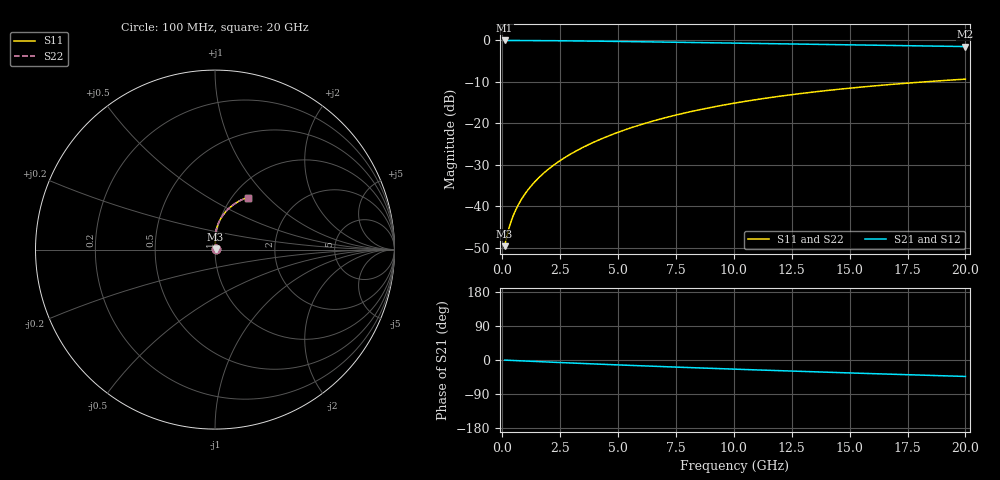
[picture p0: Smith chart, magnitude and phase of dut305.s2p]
! Touchstone file exported from HFSS 2024.1.0
!  File:  C:/UserFiles/LocalFiles/RDL_TSV_Batchsim/temp_RDL_bottom_305_1779610400.aedt
!  Generated:  04:15:55 PM May 24, 2026
!  Design:  RDL_bottom
!  Project:  temp_RDL_bottom_305_1779610400
!  Setup:  Setup1
!  Solution:  Sweep
! Variables:
!  dtsv = 10.80580581um
!  hbump = 3um
!  htsv = 66.39um
!  ldown = 634.56um
!  lrdl = 100um
!  p = 40
!  p1 = 53.73um
!  rhole = 1um
!  t = 450um
!  tdown = 3um
!  trdl = 3.915915916um
!  wdown = 28.7um
!  wrdl = 20um
# GHz S MA R 50.000000
! Terminal data exported
! Port[1] = RDL1_T1
! Port[2] = RDL1_T2
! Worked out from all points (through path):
!   200 points, 100 MHz to 20 GHz, reference 50 ohm
!   highest |S21| = -0.03 dB at 100 MHz (marker M1); lowest = -1.5 dB at 20 GHz (marker M2)
!   group delay of S21, straight-line fit = 5.95 ps
!   lowest |S11| = -49.6 dB at 100 MHz (marker M3), VSWR 1.01, Z = 50.3 + j0.165 ohm
!   |S11| at or under -10 dB: start of sweep to 18.21 GHz
!   |S22| runs from -49.6 to -9.3 dB; largest |S21 - S12| = 4e-15
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0.1  0.003329 29.4  0.9971 -0.3  0.9971 -0.3  0.003329 29.4
! Gamma 0 0 0 0
! Port Impedance 50 0 50 0
0.2  0.004415 46.0  0.9969 -0.6  0.9969 -0.6  0.004415 46.0
0.3  0.005638 54.9  0.9966 -0.9  0.9966 -0.9  0.005638 54.9
0.4  0.00687 60.6  0.9964 -1.1  0.9964 -1.1  0.00687 60.6
0.5  0.008099 64.7  0.9961 -1.4  0.9961 -1.4  0.0081 64.7
0.6  0.009334 67.9  0.9959 -1.7  0.9959 -1.7  0.009335 67.9
0.8  0.01185 72.7  0.9954 -2.2  0.9954 -2.2  0.01185 72.7
1  0.01443 76.1  0.9949 -2.7  0.9949 -2.7  0.01443 76.1
1.2  0.01707 78.7  0.9943 -3.3  0.9943 -3.3  0.01707 78.7
1.7  0.02396 83.0  0.9925 -4.6  0.9925 -4.6  0.02396 83.0
2.2  0.03121 85.5  0.9902 -5.9  0.9902 -5.9  0.03122 85.6
2.8  0.0404 87.4  0.9869 -7.5  0.9869 -7.5  0.04041 87.4
3.5  0.05177 88.5  0.9823 -9.3  0.9823 -9.3  0.05178 88.5
4.2  0.06379 88.8  0.9771 -11.0  0.9771 -11.0  0.06381 88.8
5  0.07822 88.5  0.9706 -13.0  0.9706 -13.0  0.07824 88.5
6.8  0.1125 86.2  0.955 -17.2  0.955 -17.2  0.1125 86.2
8.4  0.1438 83.1  0.9406 -20.7  0.9406 -20.7  0.1439 83.1
10.1  0.1769 79.4  0.9255 -24.3  0.9255 -24.3  0.177 79.4
11.7  0.2072 75.7  0.9114 -27.6  0.9114 -27.6  0.2073 75.7
13.4  0.2381 71.9  0.8967 -31.0  0.8967 -31.0  0.2382 71.9
16.7  0.2932 64.7  0.8689 -37.4  0.8689 -37.4  0.2934 64.7
20  0.3415 58.0  0.8419 -43.4  0.8419 -43.4  0.3417 58.0
